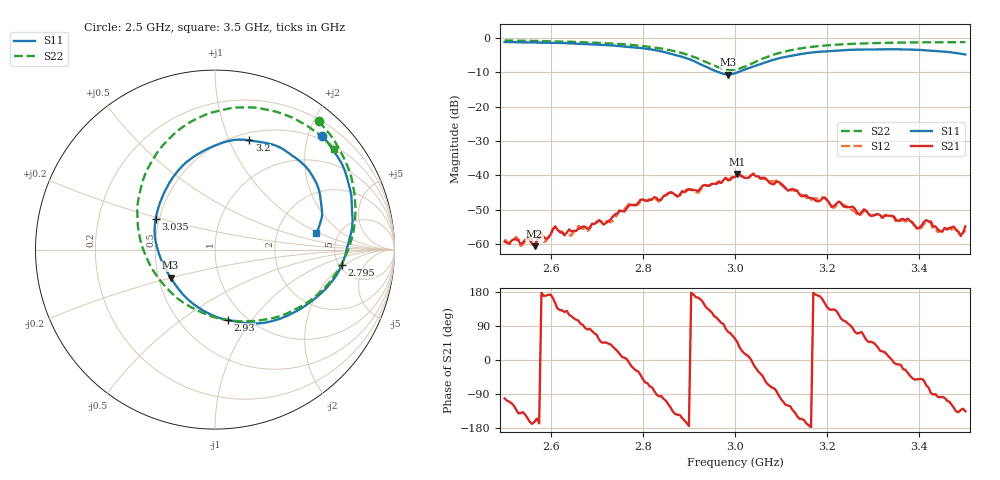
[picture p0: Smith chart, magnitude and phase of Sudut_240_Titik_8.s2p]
# Hz S RI R 50
! CMT, C1220, 16058040, 17.2.0/1
! Date: 15/08/2018 09:57:34
! Data: Format (Calibration Info)
! Freq  S11: Re/Im (F2)  S21: Re/Im (F2)  S12: Re/Im (F2)  S22: Re/Im (F2)
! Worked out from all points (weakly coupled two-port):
!   201 points, 2.5 GHz to 3.5 GHz, reference 50 ohm
!   highest |S21| = -39.66 dB at 3.005 GHz (marker M1); lowest = -60.7 dB at 2.565 GHz (marker M2)
!   lowest |S11| = -10.7 dB at 2.985 GHz (marker M3), VSWR 1.83, Z = 28.9 - j9.86 ohm
!   |S11| at or under -10 dB: 2.965 GHz to 3.006 GHz (41.72 MHz wide, 1.4 % of centre)
!   |S22| runs from -9.3 to -0.7 dB; largest |S21 - S12| = 0.00081
!   S11 on the Smith chart (normalised r, x): 2.5 GHz: 0.43, +2.25; 2.795 GHz: 5.31, -1.80; 2.93 GHz: 0.83, -0.77; 3.035 GHz: 0.48, +0.19; 3.2 GHz: 0.58, +1.19; 3.5 GHz: 3.40, +0.95
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2.5e9  0.5979 0.6329  -0.000211 -0.00106  -0.000249 -0.00114  0.5775 0.7139
2.565e9  0.6694 0.5371  -0.000883 -0.000275  -0.00102 -0.000143  0.6486 0.6305
2.575e9  0.6819 0.5192  -0.00135 -0.000309  -0.00123 -0.000169  0.6598 0.6145
2.59e9  0.6981 0.4933  -0.00116 0.000201  -0.00109 0.000107  0.6742 0.5921
2.61e9  0.716 0.4578  -0.00154 0.000915  -0.00152 0.000912  0.6936 0.5573
2.63e9  0.7324 0.4114  -0.000798 0.00107  -0.000622 0.00118  0.7119 0.5223
2.67e9  0.7569 0.3157  -7.6e-05 0.00179  2.9e-05 0.00166  0.7477 0.4405
2.715e9  0.7654 0.191  0.00133 0.00137  0.00139 0.00142  0.7745 0.3285
2.795e9  0.7069 -0.0838  0.0034 -0.00279  0.00318 -0.00267  0.7654 0.0738
2.835e9  0.6066 -0.2289  -0.000456 -0.00427  -0.000331 -0.0041  0.7046 -0.0807
2.93e9  0.0712 -0.3926  -0.00629 0.00315  -0.00638 0.00277  0.2517 -0.3936
2.985e9  -0.2476 -0.1559  0.0023 0.00808  0.00202 0.00831  -0.176 -0.296
3e9  -0.3006 -0.0551  0.00524 0.0078  0.00566 0.00755  -0.2752 -0.2078
3.005e9  -0.313 -0.0212  0.00705 0.00764  0.00698 0.00722  -0.3038 -0.1741
3.035e9  -0.3305 0.1722  0.00999 0.000135  0.00996 0.000331  -0.4158 0.0519
3.1e9  -0.1582 0.488  -0.00174 -0.00734  -0.00205 -0.00697  -0.3422 0.5077
3.17e9  0.096 0.6093  -0.00454 0.000238  -0.00452 -0.000173  -0.0733 0.7425
3.2e9  0.191 0.6086  -0.00327 0.00279  -0.00316 0.00299  0.0387 0.7774
3.27e9  0.3808 0.5587  0.000844 0.00253  0.00074 0.00241  0.2609 0.7852
3.335e9  0.5084 0.4591  0.00254 0.000322  0.0026 0.0002  0.4142 0.742
3.49e9  0.5764 0.1175  -0.000873 -0.000977  -0.000974 -0.000879  0.6519 0.5719
3.5e9  0.5654 0.0934  -0.00128 -0.00127  -0.00122 -0.00101  0.6625 0.5597
